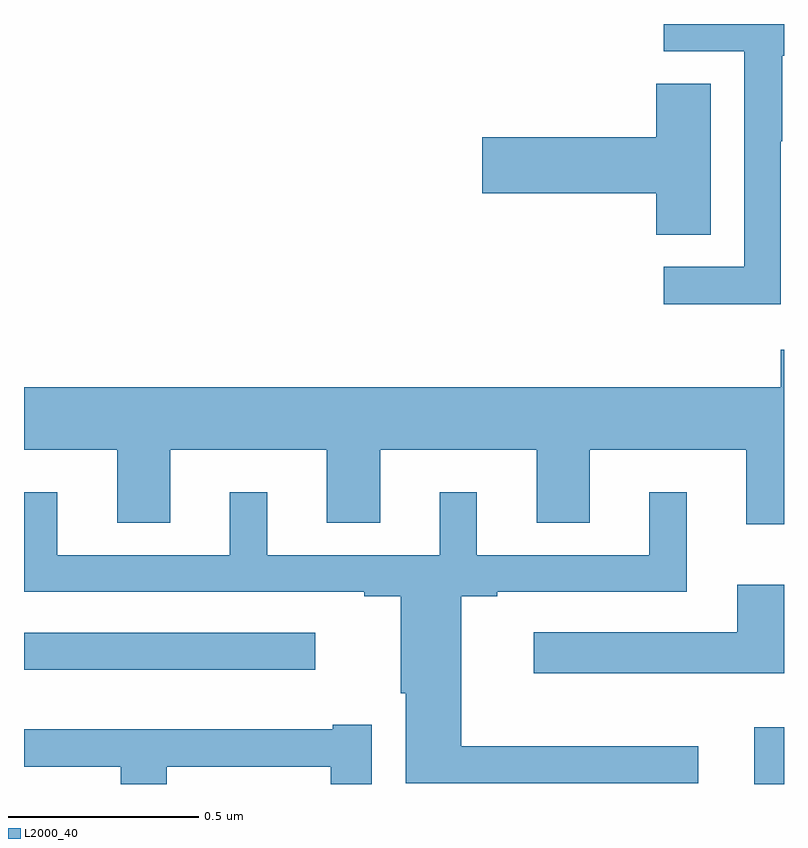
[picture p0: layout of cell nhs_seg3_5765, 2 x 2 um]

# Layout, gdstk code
import gdstk
lib = gdstk.Library(unit=1e-6, precision=1e-09)
def R(c, l, rs):  # rectangles x0, y0, x1, y1
    for r in rs: c.add(gdstk.rectangle(r[:2], r[2:], *l))
def P(c, l, *ps):  # polygons
    for p in ps: c.add(gdstk.Polygon(p, *l))
L2000_40 = (2000, 40)

nhs_seg3_5765 = lib.new_cell('nhs_seg3_5765')
R(nhs_seg3_5765, L2000_40, [(184.922,669.4,185,669.55), (183,669.701,183.766,669.798)])
P(nhs_seg3_5765, L2000_40, [(184.992,671.092),(184.995,671.092),(184.995,671.316),(185,671.316),(185,671.4),(184.683,671.4),(184.683,671.328),(184.896,671.328),(184.896,670.761),(184.683,670.761),(184.683,670.663),(184.992,670.663)],
  [(184.807,671.243),(184.664,671.243),(184.664,671.102),(184.206,671.102),(184.206,670.955),(184.664,670.955),(184.664,670.846),(184.807,670.846)],
  [(185,670.543),(184.991,670.543),(184.991,670.444),(183,670.444),(183,670.28),(183.245,670.28),(183.245,670.087),(183.385,670.087),(183.385,670.28),(183.797,670.28),(183.797,670.087),(183.937,670.087),(183.937,670.28),(184.349,670.28),(184.349,670.087),(184.489,670.087),(184.489,670.28),(184.901,670.28),(184.901,670.083),(185,670.083)],
  [(184.774,669.5),(184.15,669.5),(184.15,669.894),(184.246,669.894),(184.246,669.906),(184.744,669.906),(184.744,670.168),(184.646,670.168),(184.646,670.002),(184.192,670.002),(184.192,670.168),(184.094,670.168),(184.094,670.002),(183.64,670.002),(183.64,670.168),(183.542,670.168),(183.542,670.002),(183.088,670.002),(183.088,670.168),(183,670.168),(183,669.906),(183.896,669.906),(183.896,669.894),(183.992,669.894),(183.992,669.639),(184.004,669.639),(184.004,669.402),(184.774,669.402)],
  [(185,669.925),(184.877,669.925),(184.877,669.799),(184.341,669.799),(184.341,669.692),(185,669.692)],
  [(183.376,669.446),(183.807,669.446),(183.807,669.4),(183.915,669.4),(183.915,669.556),(183.812,669.556),(183.812,669.544),(183,669.544),(183,669.446),(183.255,669.446),(183.255,669.4),(183.376,669.4)])

lib.write_gds('nhs_seg3_5765.gds')
